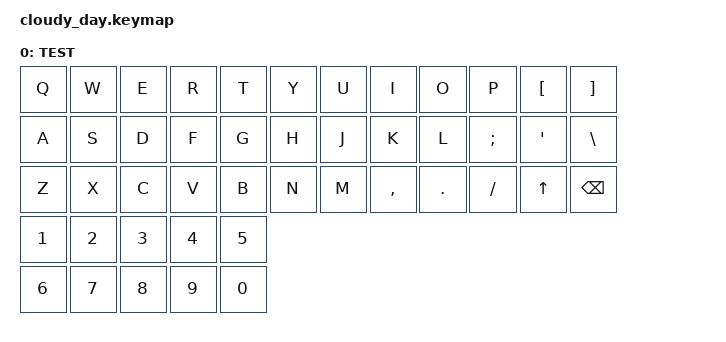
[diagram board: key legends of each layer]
#include <behaviors.dtsi>
#include <dt-bindings/zmk/keys.h>

/ {
    keymap {
        compatible = "zmk,keymap";

        default_layer {
            display-name = "TEST";
            bindings = <
                /* Row 0: 0..11  -> QWERTYUIOP[] */
                &kp Q    &kp W    &kp E    &kp R    &kp T    &kp Y    &kp U    &kp I    &kp O    &kp P    &kp LBKT &kp RBKT

                /* Row 1: 12..23 -> ASDFGHJKL;'\ */
                &kp A    &kp S    &kp D    &kp F    &kp G    &kp H    &kp J    &kp K    &kp L    &kp SCLN &kp QUOT &kp BSLH

                /* Row 2: 24..35 -> ZXCVBNM,./ + two fillers */
                &kp Z    &kp X    &kp C    &kp V    &kp B    &kp N    &kp M    &kp COMMA &kp DOT &kp SLASH &kp UP &kp BSPC

                /* Row 3: 36..45 -> 1 2 3 4 5 6 7 8 9 0 */
                &kp N1   &kp N2   &kp N3   &kp N4   &kp N5
                &kp N6   &kp N7   &kp N8   &kp N9   &kp N0
            >;
        };
    };
};
